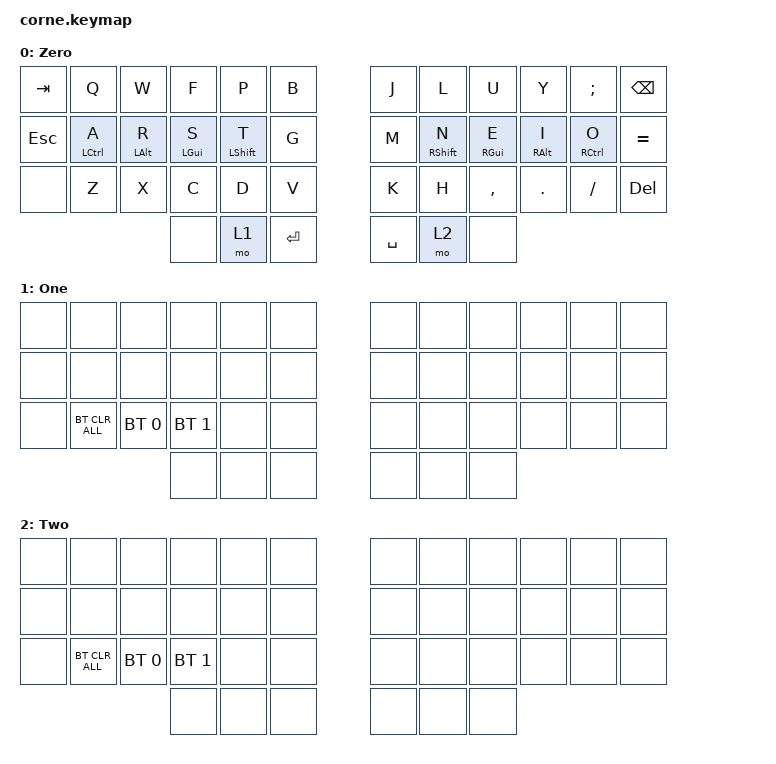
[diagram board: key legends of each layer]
/*
 * Copyright (c) 2020 The ZMK Contributors
 *
 * SPDX-License-Identifier: MIT
 */

#include <behaviors.dtsi>
#include <dt-bindings/zmk/keys.h>
#include <dt-bindings/zmk/bt.h>
#include "zmk-helpers/key-labels/42.h"

#define KEYS_L    LT0 LT1 LT2 LT3 LT4 LT5  LM0 LM1 LM2 LM3 LM4 LM5  LB0 LB1 LB2 LB3 LB4 LB5
#define KEYS_R    RT0 RT1 RT2 RT3 RT4 RT5  RM0 RM1 RM2 RM3 RM4 RM5  RB0 RB1 RB2 RB3 RB4 RB5
#define THUMBS_L  LH2 LH1 LH0
#define THUMBS_R  RH0 RH1 RH2

/ {
    behaviors {
        hml: homerow_mods_left {
            compatible = "zmk,behavior-hold-tap";
            #binding-cells = <2>;
            bindings = <&kp>, <&kp>;
            flavor = "balanced";
            tapping-term-ms = <320>;
            quick-tap-ms = <175>;
            require-prior-idle-ms = <150>;
            hold-trigger-key-positions = <KEYS_R THUMBS_R>;
            hold-trigger-on-release;
        };

        hmr: homerow_mods_right {
            compatible = "zmk,behavior-hold-tap";
            #binding-cells = <2>;
            bindings = <&kp>, <&kp>;
            flavor = "balanced";
            tapping-term-ms = <320>;
            quick-tap-ms = <175>;
            require-prior-idle-ms = <150>;
            hold-trigger-key-positions = <KEYS_L THUMBS_L>;
            hold-trigger-on-release;
        };
    };
};

/ {
        keymap {
                compatible = "zmk,keymap";

                default_layer { // layer 0
                    display-name = "Zero";
// -----------------------------------------------------------------------------------------
// |  TAB |  Q  |  W  |  E  |  R  |  T  |   |  Y  |  U   |  I  |  O  |  P  | BSPC |
// | CTRL |  A  |  S  |  D  |  F  |  G  |   |  H  |  J   |  K  |  L  |  ;  |  '   |
// | SHFT |  Z  |  X  |  C  |  V  |  B  |   |  N  |  M   |  ,  |  .  |  /  | ESC  |
//                    | GUI | LWR | SPC |   | ENT | RSE  | ALT |
                        bindings = <
   &kp TAB   &kp Q         &kp W        &kp F        &kp P         &kp B      &kp J      &kp L         &kp U        &kp Y        &kp SEMI      &kp BSPC
   &kp ESC   &hml LCTRL A  &hml LALT R  &hml LGUI S  &hml LSHFT T  &kp G      &kp M      &hmr RSHFT N  &hmr RGUI E  &hmr RALT I  &hmr RCTRL O  &kp EQUAL
   &none     &kp Z         &kp X        &kp C        &kp D         &kp V      &kp K      &kp H         &kp COMMA    &kp DOT      &kp FSLH      &kp DEL
                                        &none        &mo 1         &kp RET    &kp SPACE  &mo 2         &none
                        >;
                };
                lower_layer { // layer 1
                    display-name = "One";
// -----------------------------------------------------------------------------------------
// |  TAB |  1  |  2  |  3  |  4  |  5  |   |  6  |  7  |  8  |  9  |  0  | BSPC |
// | BTCLR| BT1 | BT2 | BT3 | BT4 | BT5 |   | LFT | DWN |  UP | RGT |     |      |
// | SHFT |     |     |     |     |     |   |     |     |     |     |     |      |
//                    | GUI |     | SPC |   | ENT |     | ALT |
                        bindings = <
   &none  &none           &none         &none         &none  &none    &none  &none  &none  &none  &none  &none
   &none  &none           &none         &none         &none  &none    &none  &none  &none  &none  &none  &none
   &none  &bt BT_CLR_ALL  &bt BT_SEL 0  &bt BT_SEL 1  &none  &none    &none  &none  &none  &none  &none  &none
                                        &none         &none  &none    &none  &none  &none
                        >;
                };

                raise_layer { // layer 2
                    display-name = "Two";
// -----------------------------------------------------------------------------------------
// |  TAB |  !  |  @  |  #  |  $  |  %  |   |  ^  |  &  |  *  |  (  |  )  | BSPC |
// | CTRL |     |     |     |     |     |   |  -  |  =  |  [  |  ]  |  \  |  `   |
// | SHFT |     |     |     |     |     |   |  _  |  +  |  {  |  }  | "|" |  ~   |
//                    | GUI |     | SPC |   | ENT |     | ALT |
                        bindings = <
   &none  &none           &none         &none         &none  &none    &none  &none  &none  &none  &none  &none
   &none  &none           &none         &none         &none  &none    &none  &none  &none  &none  &none  &none
   &none  &bt BT_CLR_ALL  &bt BT_SEL 0  &bt BT_SEL 1  &none  &none    &none  &none  &none  &none  &none  &none
                                        &none         &none  &none    &none  &none  &none
                        >;
                };
        };
};
